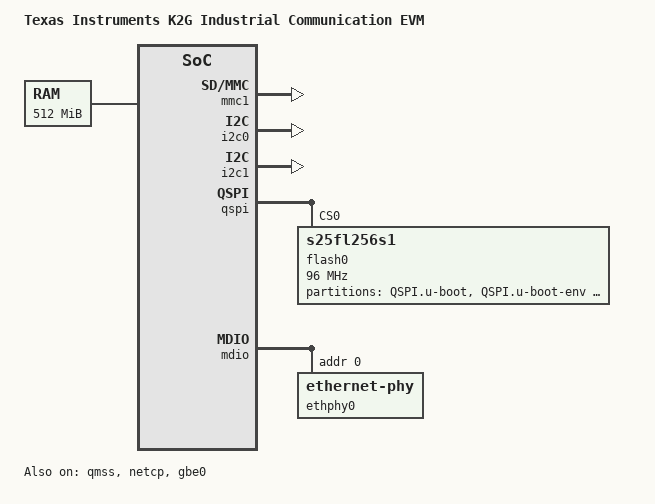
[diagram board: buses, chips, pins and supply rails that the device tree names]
// SPDX-License-Identifier: GPL-2.0+
/*
 * Device Tree Source for K2G Industrial Communication Engine EVM
 *
 * Copyright (C) 2017 Texas Instruments Incorporated - http://www.ti.com/
 */
/dts-v1/;

#include "keystone-k2g.dtsi"
#include <dt-bindings/net/ti-dp83867.h>

/ {
	compatible = "ti,k2g-ice", "ti,k2g", "ti,keystone";
	model = "Texas Instruments K2G Industrial Communication EVM";

	chosen {
		stdout-path = &uart0;
	};

	memory@80000000 {
		device_type = "memory";
		reg = <0x80000000 0x20000000>;
	};
};

&mmc1 {
	status = "okay";
};

&i2c0 {
	status = "okay";
};

&i2c1 {
	status = "okay";
};

&qspi {
	status = "okay";

	flash0: m25p80@0 {
		compatible = "s25fl256s1", "jedec,spi-nor";
		reg = <0>;
		spi-tx-bus-width = <1>;
		spi-rx-bus-width = <4>;
		spi-max-frequency = <96000000>;
		#address-cells = <1>;
		#size-cells = <1>;
		cdns,read-delay = <5>;
		cdns,tshsl-ns = <500>;
		cdns,tsd2d-ns = <500>;
		cdns,tchsh-ns = <119>;
		cdns,tslch-ns = <119>;

		partition@0 {
			label = "QSPI.u-boot";
			reg = <0x00000000 0x00100000>;
		};
		partition@1 {
			label = "QSPI.u-boot-env";
			reg = <0x00100000 0x00040000>;
		};
		partition@2 {
			label = "QSPI.skern";
			reg = <0x00140000 0x0040000>;
		};
		partition@3 {
			label = "QSPI.pmmc-firmware";
			reg = <0x00180000 0x0040000>;
		};
		partition@4 {
			label = "QSPI.kernel";
			reg = <0x001c0000 0x0800000>;
		};
		partition@5 {
			label = "QSPI.u-boot-spl-os";
			reg = <0x009c0000 0x0040000>;
		};
		partition@6 {
			label = "QSPI.file-system";
			reg = <0x00a00000 0x1600000>;
		};
	};
};

&qmss {
	status = "okay";
};

&knav_dmas {
	status = "okay";
};

&netcp {
	pinctrl-names = "default";
	//pinctrl-0 = <&emac_pins>;
	status = "okay";
};

&mdio {
	pinctrl-names = "default";
	//pinctrl-0 = <&mdio_pins>;
	status = "okay";
	ethphy0: ethernet-phy@0 {
		reg = <0>;
		ti,rx-internal-delay = <DP83867_RGMIIDCTL_2_25_NS>;
		ti,tx-internal-delay = <DP83867_RGMIIDCTL_250_PS>;
		ti,fifo-depth = <DP83867_PHYCR_FIFO_DEPTH_8_B_NIB>;
		ti,min-output-impedance;
		ti,dp83867-rxctrl-strap-quirk;
	};
};

&gbe0 {
	phy-handle = <&ethphy0>;
	phy-mode = "rgmii-id";
	status = "okay";
};
